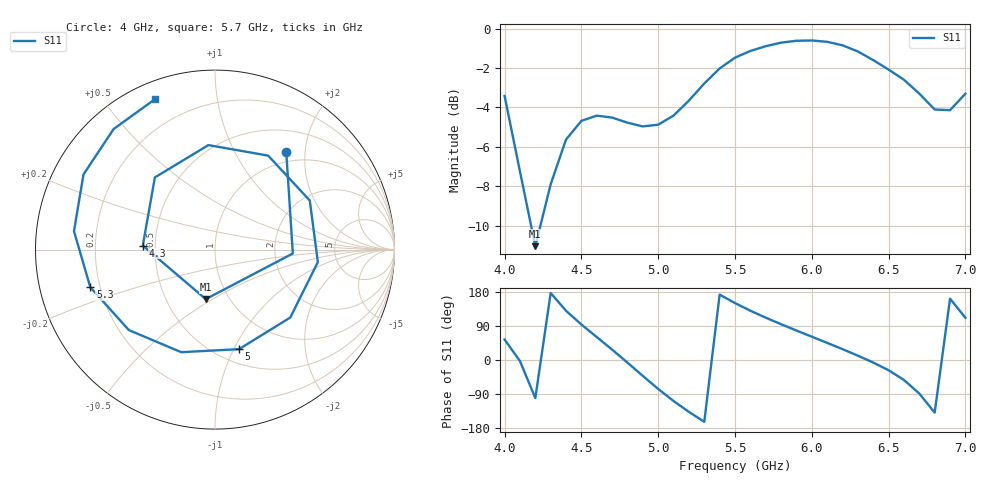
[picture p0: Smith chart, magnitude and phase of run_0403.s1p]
! Touchstone file exported from HFSS 2024.2.0
!  File:  C:/Users/wsak9/Desktop/Sim Fast/Widenad Patch/WP_AI_V1_sweep.aedt
!  Generated:  08:22:52 AM Oct 14, 2026
!  Design:  A1_model
!  Project:  WP_AI_V1_sweep
!  Setup:  Setup1
!  Solution:  Sweep
! Variables:
!  Air_gap = 3.5mm
!  Curve_Amp1 = 2.92
!  Curve_len1 = 1
!  Curve_pos = 13.34mm
!  Extra = 2.49mm
!  H_sub = 0.79mm
!  L_Patch = 22.68mm
!  L_Patch1 = 15.3mm
!  Sx = 1.49mm
!  Sy = 0.68mm
!  WS = 1.29mm
!  W_Patch = 14.07mm
!  W_Patch1 = 12.81mm
!Data is not renormalized
# GHz S MA
! Terminal data exported
! Port[1] = 1
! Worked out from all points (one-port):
!   31 points, 4 GHz to 7 GHz, reference per port
!   lowest |S11| = -11.0 dB at 4.2 GHz (marker M1), VSWR 1.78
!   |S11| at or under -10 dB: 4.173 GHz to 4.233 GHz (60.45 MHz wide, 1.44 % of centre)
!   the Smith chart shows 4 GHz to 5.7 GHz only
!   S11 on the Smith chart (normalised r, x): 4 GHz: 0.82, +1.65; 4.3 GHz: 0.43, +0.02; 5 GHz: 0.64, -1.05; 5.3 GHz: 0.16, -0.14; 5.7 GHz: 0.07, +0.68
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4  0.6746 54.0
4.1  0.4341 -2.9
4.2  0.2806 -100.5
4.3  0.4029 176.8
4.4  0.5233 129.8
4.5  0.5835 93.6
4.6  0.6016 60.5
4.7  0.5947 27.4
4.8  0.5773 -6.9
4.9  0.5648 -42.1
5  0.5706 -76.4
5.1  0.6017 -108.2
5.2  0.6569 -136.9
5.3  0.7258 -163.2
5.4  0.7923 172.6
5.5  0.844 150.2
5.7  0.9024 111.7
5.8  0.9214 94.4
5.9  0.9315 77.8
6.1  0.9259 45.2
6.3  0.875 11.4
6.4  0.832 -6.7
6.5  0.7872 -27.0
6.6  0.7418 -52.7
6.7  0.684 -88.5
6.8  0.6235 -138.9
6.9  0.6209 161.8
7  0.6838 111.5
